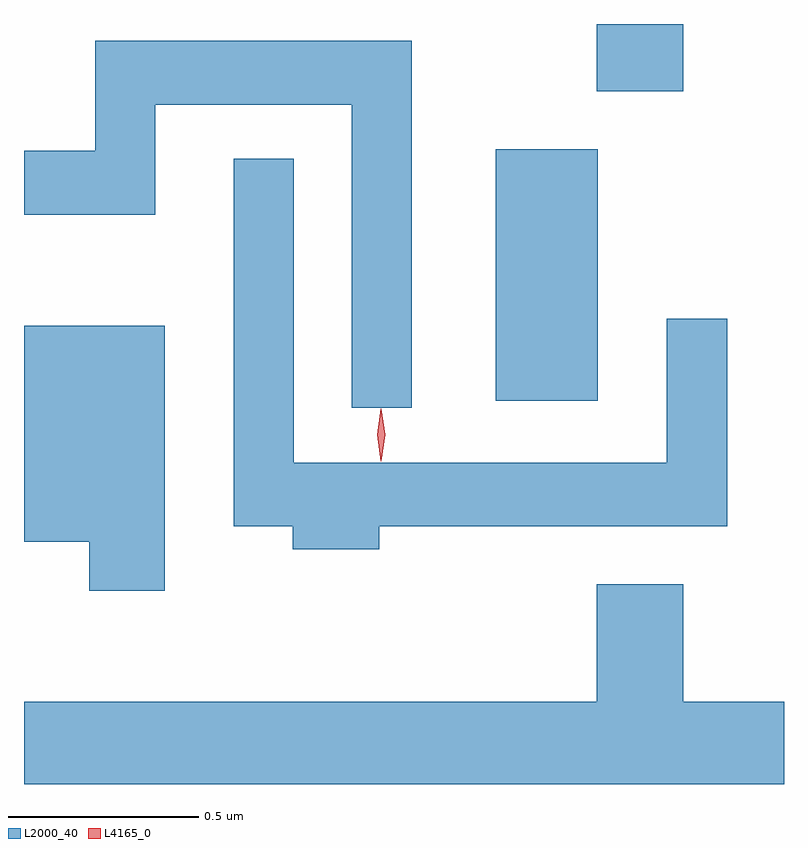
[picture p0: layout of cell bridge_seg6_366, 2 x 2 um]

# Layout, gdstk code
import gdstk
lib = gdstk.Library(unit=1e-6, precision=1e-09)
def R(c, l, rs):  # rectangles x0, y0, x1, y1
    for r in rs: c.add(gdstk.rectangle(r[:2], r[2:], *l))
def P(c, l, *ps):  # polygons
    for p in ps: c.add(gdstk.Polygon(p, *l))
L2000_40 = (2000, 40)
L4165_0 = (4165, 0)

bridge_seg6_366 = lib.new_cell('bridge_seg6_366')
R(bridge_seg6_366, L2000_40, [(1274.196,1553.316,1274.464,1553.979), (1274.461,1554.131,1274.689,1554.308)])
P(bridge_seg6_366, L2000_40, [(1273.974,1554.264),(1273.141,1554.264),(1273.141,1553.974),(1272.954,1553.974),(1272.954,1553.806),(1273.299,1553.806),(1273.299,1554.096),(1273.816,1554.096),(1273.816,1553.298),(1273.974,1553.298)],
  [(1273.889,1552.986),(1274.804,1552.986),(1274.804,1553.533),(1274.646,1553.533),(1274.646,1553.154),(1273.664,1553.154),(1273.664,1553.953),(1273.506,1553.953),(1273.506,1552.986),(1273.661,1552.986),(1273.661,1552.926),(1273.889,1552.926)],
  [(1273.324,1553.514),(1272.954,1553.514),(1272.954,1552.946),(1273.126,1552.946),(1273.126,1552.816),(1273.324,1552.816)],
  [(1274.954,1552.524),(1274.689,1552.524),(1274.689,1552.834),(1274.461,1552.834),(1274.461,1552.524),(1272.954,1552.524),(1272.954,1552.308),(1274.954,1552.308)])
P(bridge_seg6_366, L4165_0, [(1273.893,1553.157),(1273.884,1553.227),(1273.893,1553.296),(1273.894,1553.296),(1273.894,1553.296),(1273.904,1553.227),(1273.894,1553.157),(1273.894,1553.157)])

lib.write_gds('bridge_seg6_366.gds')
